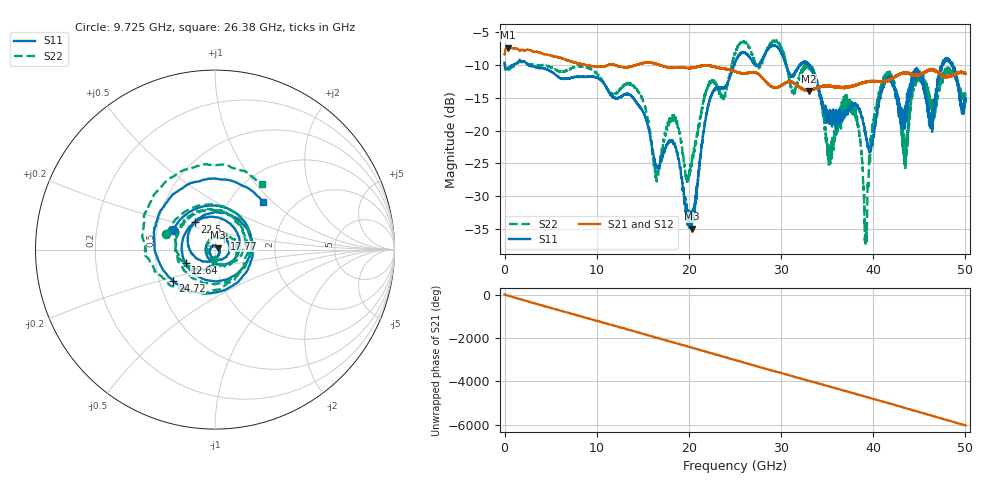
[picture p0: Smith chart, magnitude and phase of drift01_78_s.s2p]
!Created with skrf (http://scikit-rf.org).
# Hz S RI R 50.0
!freq ReS11 ImS11 ReS21 ImS21 ReS12 ImS12 ReS22 ImS22
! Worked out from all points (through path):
!   10001 points, 300 kHz to 50 GHz, reference 50 ohm
!   highest |S21| = -7.33 dB at 325.3 MHz (marker M1); lowest = -14.0 dB at 33.02 GHz (marker M2)
!   group delay of S21, straight-line fit = 335 ps
!   lowest |S11| = -35.0 dB at 20.32 GHz (marker M3), VSWR 1.04, Z = 51.5 + j1.03 ohm
!   |S11| at or under -10 dB: 2.553 GHz to 24.9 GHz (22.35 GHz wide, 163 % of centre); 30.53 GHz to 32.04 GHz (1.511 GHz wide, 4.83 % of centre); 33.07 GHz to 47.46 GHz (14.39 GHz wide, 35.7 % of centre) (the widest 3 of 24)
!   |S22| runs from -37.7 to -6.3 dB; largest |S21 - S12| = 0.01
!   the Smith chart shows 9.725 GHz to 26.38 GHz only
!   S11 on the Smith chart (normalised r, x): 9.725 GHz: 0.61, +0.14; 12.64 GHz: 0.71, -0.11; 17.77 GHz: 1.10, +0.14; 22.5 GHz: 0.77, +0.24; 24.72 GHz: 0.59, -0.22; 26.38 GHz: 1.42, +0.88
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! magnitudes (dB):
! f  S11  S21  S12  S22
! 300 kHz  -9.7  -8.4  -8.5  -9.5
! 325.3 MHz  -10.5  -7.3  -7.3  -10.9
! 8.335 GHz  -11.8  -9.8  -9.8  -10.2
! 9.725 GHz  -11.8  -10.2  -10.2  -10.9
! 12.64 GHz  -14.9  -10.3  -10.3  -13.6
! 16.67 GHz  -25.8  -9.9  -9.9  -26.9
! 17.77 GHz  -21.8  -10.4  -10.4  -19.0
! 20.32 GHz  -35.0  -10.4  -10.4  -24.8
! 22.5 GHz  -14.4  -10.2  -10.2  -12.5
! 24.72 GHz  -10.7  -10.8  -10.8  -9.7
! 25 GHz  -9.6  -11.0  -11.0  -8.2
! 26.38 GHz  -8.4  -11.2  -11.2  -6.9
! 33.02 GHz  -9.9  -14.0  -13.8  -10.0
! 33.34 GHz  -10.8  -13.8  -13.8  -10.7
! 35.27 GHz  -17.9  -13.2  -13.2  -23.0
! 37.95 GHz  -15.9  -13.1  -13.1  -17.3
! 39.17 GHz  -20.4  -12.6  -12.6  -37.7
! 40.12 GHz  -20.1  -12.4  -12.5  -18.2
! 41.67 GHz  -11.8  -12.3  -12.3  -12.0
! 43.45 GHz  -18.3  -11.2  -11.3  -24.8
! 44.85 GHz  -11.1  -11.5  -11.5  -11.9
! 50 GHz  -15.4  -11.4  -11.3  -15.1
